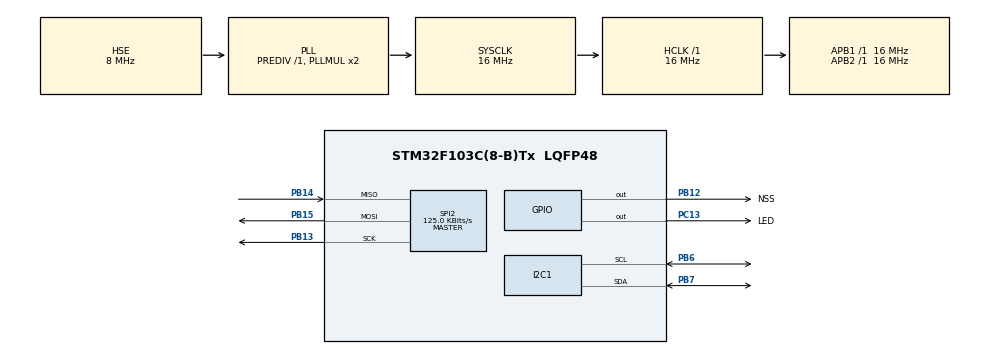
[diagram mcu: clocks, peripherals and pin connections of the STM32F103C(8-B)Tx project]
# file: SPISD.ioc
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FATFS._CODE_PAGE=1
FATFS._STRF_ENCODE=3
I2C1.I2C_Mode=I2C_Standard
Mcu.Family=STM32F1
Mcu.Name=STM32F103C(8-B)Tx
Mcu.Package=LQFP48
NVIC.PriorityGroup=NVIC_PRIORITYGROUP_4
PA13.Mode=Serial_Wire
PA13.Signal=SYS_JTMS-SWDIO
PA14.Mode=Serial_Wire
PA14.Signal=SYS_JTCK-SWCLK
PB12.GPIO_Label=NSS
PB12.Signal=GPIO_Output
PB13.Mode=Full_Duplex_Master
PB13.Signal=SPI2_SCK
PB14.Mode=Full_Duplex_Master
PB14.Signal=SPI2_MISO
PB15.Mode=Full_Duplex_Master
PB15.Signal=SPI2_MOSI
PB6.Mode=I2C
PB6.Signal=I2C1_SCL
PB7.Mode=I2C
PB7.Signal=I2C1_SDA
PC13-TAMPER-RTC.GPIO_Label=LED
PC13-TAMPER-RTC.Signal=GPIO_Output
PC14-OSC32_IN.Mode=LSE-External-Oscillator
PC14-OSC32_IN.Signal=RCC_OSC32_IN
PC15-OSC32_OUT.Mode=LSE-External-Oscillator
PC15-OSC32_OUT.Signal=RCC_OSC32_OUT
PD0-OSC_IN.Mode=HSE-External-Oscillator
PD0-OSC_IN.Signal=RCC_OSC_IN
PD1-OSC_OUT.Mode=HSE-External-Oscillator
PD1-OSC_OUT.Signal=RCC_OSC_OUT
ProjectManager.HeapSize=0x200
ProjectManager.StackSize=0x400
ProjectManager.TargetToolchain=STM32CubeIDE
RCC.AHBFreq_Value=16000000
RCC.APB1Freq_Value=16000000
RCC.APB1TimFreq_Value=16000000
RCC.APB2Freq_Value=16000000
RCC.APB2TimFreq_Value=16000000
RCC.HCLKFreq_Value=16000000
RCC.PLLSourceVirtual=RCC_PLLSOURCE_HSE
RCC.RTCClockSelection=RCC_RTCCLKSOURCE_LSE
RCC.SYSCLKFreq_VALUE=16000000
RCC.SYSCLKSource=RCC_SYSCLKSOURCE_PLLCLK
RCC.USBFreq_Value=16000000
RTC.Date=23
RTC.Hours=19
RTC.Minutes=30
RTC.Month=RTC_MONTH_JUNE
RTC.WeekDay=RTC_WEEKDAY_THURSDAY
RTC.Year=22
SPI2.BaudRatePrescaler=SPI_BAUDRATEPRESCALER_128
SPI2.CLKPhase=SPI_PHASE_1EDGE
SPI2.CalculateBaudRate=125.0 KBits/s
SPI2.Direction=SPI_DIRECTION_2LINES
SPI2.Mode=SPI_MODE_MASTER
SPI2.VirtualType=VM_MASTER
VP_FATFS_VS_Generic.Mode=User_defined
VP_RTC_VS_RTC_Activate.Mode=RTC_Enabled
VP_RTC_VS_RTC_Calendar.Mode=RTC_Calendar
board=custom

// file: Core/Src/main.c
/* USER CODE BEGIN Header */
/**
  ******************************************************************************
  * @file           : main.c
  * @brief          : Main program body
  ******************************************************************************
  * @attention
  *
  * Copyright (c) 2022 STMicroelectronics.
  * All rights reserved.
  *
  * This software is licensed under terms that can be found in the LICENSE file
  * in the root directory of this software component.
  * If no LICENSE file comes with this software, it is provided AS-IS.
  *
  ******************************************************************************
  */
/* USER CODE END Header */
#include "main.h"
#include "fatfs.h"

/* USER CODE BEGIN Includes */
#include "SPISD.h"
#include "Globals.h"
/* USER CODE END Includes */

 I2C_HandleTypeDef hi2c1;

RTC_HandleTypeDef hrtc;

SPI_HandleTypeDef hspi2;

/* USER CODE BEGIN PV */
SPISD spisd;
SPISD *mainSD = &spisd;
uint8_t Sector0[516];

/* USER CODE END PV */

void SystemClock_Config(void);
static void MX_GPIO_Init(void);
static void MX_SPI2_Init(void);
static void MX_RTC_Init(void);
static void MX_I2C1_Init(void);

/* USER CODE BEGIN 0 */
RTC_HandleTypeDef *pRTC;
/* USER CODE END 0 */

int main(void)
{

  /* MCU Configuration--------------------------------------------------------*/

  /* Reset of all peripherals, Initializes the Flash interface and the Systick. */
  HAL_Init();

  /* Configure the system clock */
  SystemClock_Config();

  /* USER CODE BEGIN SysInit */
  spisd.FSM=Encendido;
  spisd.csPuerto = NSS_GPIO_Port;
  spisd.csPin = NSS_Pin;
  spisd.puertoSPI = &hspi2;
  spisd.sectorAddressing=1; //Asumimos SDHC (+2GB)
  spisd.hrtc = &hrtc;
  pRTC=&hrtc;
  /* USER CODE END SysInit */

  /* Initialize all configured peripherals */
  MX_GPIO_Init();
  MX_SPI2_Init();
  MX_FATFS_Init();
  MX_RTC_Init();
  MX_I2C1_Init();
  /* USER CODE BEGIN 2 */

  f_mount(&USERFatFS,USERPath,0);
  f_open(&USERFile,"MiArch.txt",FA_CREATE_ALWAYS | FA_WRITE);
  uint32_t output;
  if (f_write(&USERFile,"Hola Mundo SD Card!",sizeof("Hola Mundo SD Card!"),(void*)&output)==FR_OK)
  {
	  if (f_sync(&USERFile)==FR_OK){
		  f_close(&USERFile);
	  }

  }

  /* USER CODE END 2 */

  /* Infinite loop */
  while (1)
  {

  }
}

void SystemClock_Config(void)
{
  RCC_OscInitTypeDef RCC_OscInitStruct = {0};
  RCC_ClkInitTypeDef RCC_ClkInitStruct = {0};
  RCC_PeriphCLKInitTypeDef PeriphClkInit = {0};

  /** Initializes the RCC Oscillators according to the specified parameters
  * in the RCC_OscInitTypeDef structure.
  */
  RCC_OscInitStruct.OscillatorType = RCC_OSCILLATORTYPE_HSE|RCC_OSCILLATORTYPE_LSE;
  RCC_OscInitStruct.HSEState = RCC_HSE_ON;
  RCC_OscInitStruct.HSEPredivValue = RCC_HSE_PREDIV_DIV1;
  RCC_OscInitStruct.LSEState = RCC_LSE_ON;
  RCC_OscInitStruct.HSIState = RCC_HSI_ON;
  RCC_OscInitStruct.PLL.PLLState = RCC_PLL_ON;
  RCC_OscInitStruct.PLL.PLLSource = RCC_PLLSOURCE_HSE;
  RCC_OscInitStruct.PLL.PLLMUL = RCC_PLL_MUL2;
  if (HAL_RCC_OscConfig(&RCC_OscInitStruct) != HAL_OK)
  {
    Error_Handler();
  }

  /** Initializes the CPU, AHB and APB buses clocks
  */
  RCC_ClkInitStruct.ClockType = RCC_CLOCKTYPE_HCLK|RCC_CLOCKTYPE_SYSCLK
                              |RCC_CLOCKTYPE_PCLK1|RCC_CLOCKTYPE_PCLK2;
  RCC_ClkInitStruct.SYSCLKSource = RCC_SYSCLKSOURCE_PLLCLK;
  RCC_ClkInitStruct.AHBCLKDivider = RCC_SYSCLK_DIV1;
  RCC_ClkInitStruct.APB1CLKDivider = RCC_HCLK_DIV1;
  RCC_ClkInitStruct.APB2CLKDivider = RCC_HCLK_DIV1;

  if (HAL_RCC_ClockConfig(&RCC_ClkInitStruct, FLASH_LATENCY_0) != HAL_OK)
  {
    Error_Handler();
  }
  PeriphClkInit.PeriphClockSelection = RCC_PERIPHCLK_RTC;
  PeriphClkInit.RTCClockSelection = RCC_RTCCLKSOURCE_LSE;
  if (HAL_RCCEx_PeriphCLKConfig(&PeriphClkInit) != HAL_OK)
  {
    Error_Handler();
  }
}

static void MX_I2C1_Init(void)
{

  hi2c1.Instance = I2C1;
  hi2c1.Init.ClockSpeed = 100000;
  hi2c1.Init.DutyCycle = I2C_DUTYCYCLE_2;
  hi2c1.Init.OwnAddress1 = 0;
  hi2c1.Init.AddressingMode = I2C_ADDRESSINGMODE_7BIT;
  hi2c1.Init.DualAddressMode = I2C_DUALADDRESS_DISABLE;
  hi2c1.Init.OwnAddress2 = 0;
  hi2c1.Init.GeneralCallMode = I2C_GENERALCALL_DISABLE;
  hi2c1.Init.NoStretchMode = I2C_NOSTRETCH_DISABLE;
  if (HAL_I2C_Init(&hi2c1) != HAL_OK)
  {
    Error_Handler();
  }

}

static void MX_RTC_Init(void)
{

  RTC_TimeTypeDef sTime = {0};
  RTC_DateTypeDef DateToUpdate = {0};

  /** Initialize RTC Only
  */
  hrtc.Instance = RTC;
  hrtc.Init.AsynchPrediv = RTC_AUTO_1_SECOND;
  hrtc.Init.OutPut = RTC_OUTPUTSOURCE_ALARM;
  if (HAL_RTC_Init(&hrtc) != HAL_OK)
  {
    Error_Handler();
  }

  /** Initialize RTC and set the Time and Date
  */
  sTime.Hours = 0x19;
  sTime.Minutes = 0x30;
  sTime.Seconds = 0x0;

  if (HAL_RTC_SetTime(&hrtc, &sTime, RTC_FORMAT_BCD) != HAL_OK)
  {
    Error_Handler();
  }
  DateToUpdate.WeekDay = RTC_WEEKDAY_THURSDAY;
  DateToUpdate.Month = RTC_MONTH_JUNE;
  DateToUpdate.Date = 0x23;
  DateToUpdate.Year = 0x22;

  if (HAL_RTC_SetDate(&hrtc, &DateToUpdate, RTC_FORMAT_BCD) != HAL_OK)
  {
    Error_Handler();
  }

}

static void MX_SPI2_Init(void)
{

  /* SPI2 parameter configuration*/
  hspi2.Instance = SPI2;
  hspi2.Init.Mode = SPI_MODE_MASTER;
  hspi2.Init.Direction = SPI_DIRECTION_2LINES;
  hspi2.Init.DataSize = SPI_DATASIZE_8BIT;
  hspi2.Init.CLKPolarity = SPI_POLARITY_LOW;
  hspi2.Init.CLKPhase = SPI_PHASE_1EDGE;
  hspi2.Init.NSS = SPI_NSS_SOFT;
  hspi2.Init.BaudRatePrescaler = SPI_BAUDRATEPRESCALER_128;
  hspi2.Init.FirstBit = SPI_FIRSTBIT_MSB;
  hspi2.Init.TIMode = SPI_TIMODE_DISABLE;
  hspi2.Init.CRCCalculation = SPI_CRCCALCULATION_DISABLE;
  hspi2.Init.CRCPolynomial = 10;
  if (HAL_SPI_Init(&hspi2) != HAL_OK)
  {
    Error_Handler();
  }

}

static void MX_GPIO_Init(void)
{
  GPIO_InitTypeDef GPIO_InitStruct = {0};

  /* GPIO Ports Clock Enable */
  __HAL_RCC_GPIOC_CLK_ENABLE();
  __HAL_RCC_GPIOD_CLK_ENABLE();
  __HAL_RCC_GPIOB_CLK_ENABLE();
  __HAL_RCC_GPIOA_CLK_ENABLE();

  /*Configure GPIO pin Output Level */
  HAL_GPIO_WritePin(LED_GPIO_Port, LED_Pin, GPIO_PIN_RESET);

  /*Configure GPIO pin Output Level */
  HAL_GPIO_WritePin(NSS_GPIO_Port, NSS_Pin, GPIO_PIN_RESET);

  /*Configure GPIO pin : LED_Pin */
  GPIO_InitStruct.Pin = LED_Pin;
  GPIO_InitStruct.Mode = GPIO_MODE_OUTPUT_PP;
  GPIO_InitStruct.Pull = GPIO_NOPULL;
  GPIO_InitStruct.Speed = GPIO_SPEED_FREQ_LOW;
  HAL_GPIO_Init(LED_GPIO_Port, &GPIO_InitStruct);

  /*Configure GPIO pin : NSS_Pin */
  GPIO_InitStruct.Pin = NSS_Pin;
  GPIO_InitStruct.Mode = GPIO_MODE_OUTPUT_PP;
  GPIO_InitStruct.Pull = GPIO_NOPULL;
  GPIO_InitStruct.Speed = GPIO_SPEED_FREQ_LOW;
  HAL_GPIO_Init(NSS_GPIO_Port, &GPIO_InitStruct);

}

void Error_Handler(void)
{
  __disable_irq();
  while (1)
  {
  }
}
